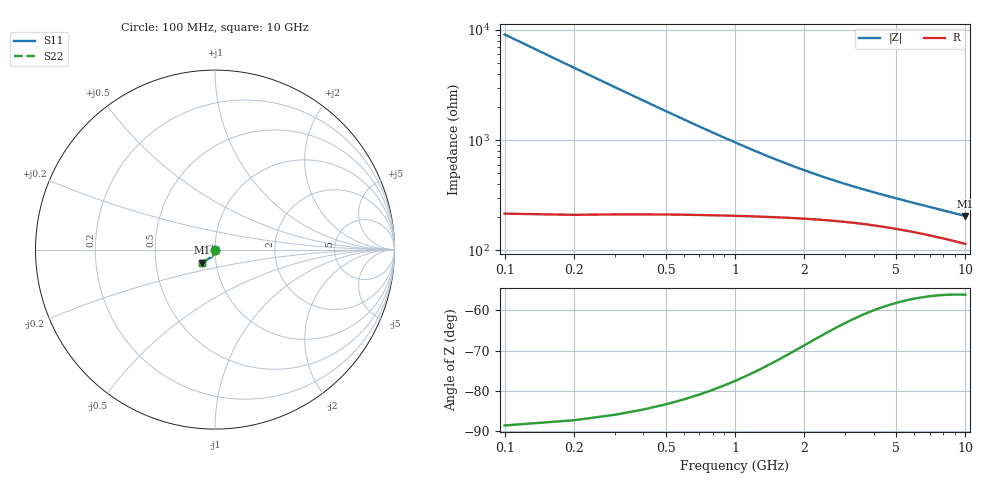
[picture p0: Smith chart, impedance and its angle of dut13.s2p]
! Touchstone file exported from HFSS 2024.1.0
!  File:  C:/UserFiles/LocalFiles/RDL_TSV_Batchsim/temp_TSV1_13_1778746631.aedt
!  Generated:  04:21:04 PM May 14, 2026
!  Design:  TSV1
!  Project:  temp_TSV1_13_1778746631
!  Setup:  Setup1
!  Solution:  Sweep
! Variables:
!  dtsv = 18.3um
!  hbump = 3um
!  htsv = 78.79um
!  lrdl = 252.1521522um
!  p = 40
!  p1 = 41.23um
!  t = 500um
!  trdl = 3um
!  wrdl = 24.89489489um
# GHz S MA R 50.000000
! Terminal data exported
! Port[1] = TSV22_T1
! Port[2] = TSV22_T2
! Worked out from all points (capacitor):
!   100 points, 100 MHz to 10 GHz, reference 50 ohm
!   read as one part in shunt: C = 175 fF near 100 MHz
!   lowest |Z| = 205 ohm at 10 GHz (marker M1)
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0.1  0.002516 -89.6  0.9998 -0.2  0.9998 -0.2  0.002516 -89.6
! Gamma 0 0 0 0
! Port Impedance 50 0 50 0
0.2  0.005061 -91.9  0.9996 -0.3  0.9996 -0.3  0.005061 -91.9
0.3  0.007586 -93.8  0.9993 -0.5  0.9993 -0.5  0.007586 -93.8
0.4  0.01008 -95.4  0.9988 -0.7  0.9988 -0.7  0.01008 -95.4
0.5  0.01255 -97.0  0.9982 -0.8  0.9982 -0.8  0.01255 -97.0
0.6  0.01497 -98.5  0.9974 -1.0  0.9974 -1.0  0.01497 -98.5
0.7  0.01734 -100.0  0.9966 -1.1  0.9966 -1.1  0.01734 -100.0
0.8  0.01967 -101.4  0.9958 -1.3  0.9958 -1.3  0.01967 -101.4
0.9  0.02194 -102.8  0.9948 -1.4  0.9948 -1.4  0.02194 -102.8
1.1  0.0263 -105.4  0.9927 -1.7  0.9927 -1.7  0.0263 -105.4
1.4  0.03235 -109.0  0.9893 -2.1  0.9893 -2.1  0.03235 -109.0
1.6  0.03606 -111.2  0.9869 -2.3  0.9869 -2.3  0.03606 -111.2
1.8  0.03951 -113.2  0.9844 -2.5  0.9844 -2.5  0.03951 -113.2
2.1  0.04425 -115.8  0.9808 -2.7  0.9808 -2.7  0.04425 -115.8
2.5  0.04984 -118.9  0.9762 -3.1  0.9762 -3.1  0.04984 -118.9
2.9  0.05472 -121.4  0.972 -3.3  0.972 -3.3  0.05472 -121.4
3.4  0.06007 -123.8  0.9672 -3.6  0.9672 -3.6  0.06007 -123.8
4.2  0.06734 -126.8  0.9605 -4.0  0.9605 -4.0  0.06734 -126.8
5.1  0.07426 -129.1  0.9543 -4.4  0.9543 -4.4  0.07426 -129.1
6.7  0.08454 -131.7  0.9455 -5.1  0.9455 -5.1  0.08454 -131.7
8.4  0.0937 -133.4  0.938 -5.8  0.938 -5.8  0.09369 -133.4
10  0.1012 -134.3  0.9323 -6.4  0.9323 -6.4  0.1012 -134.3
